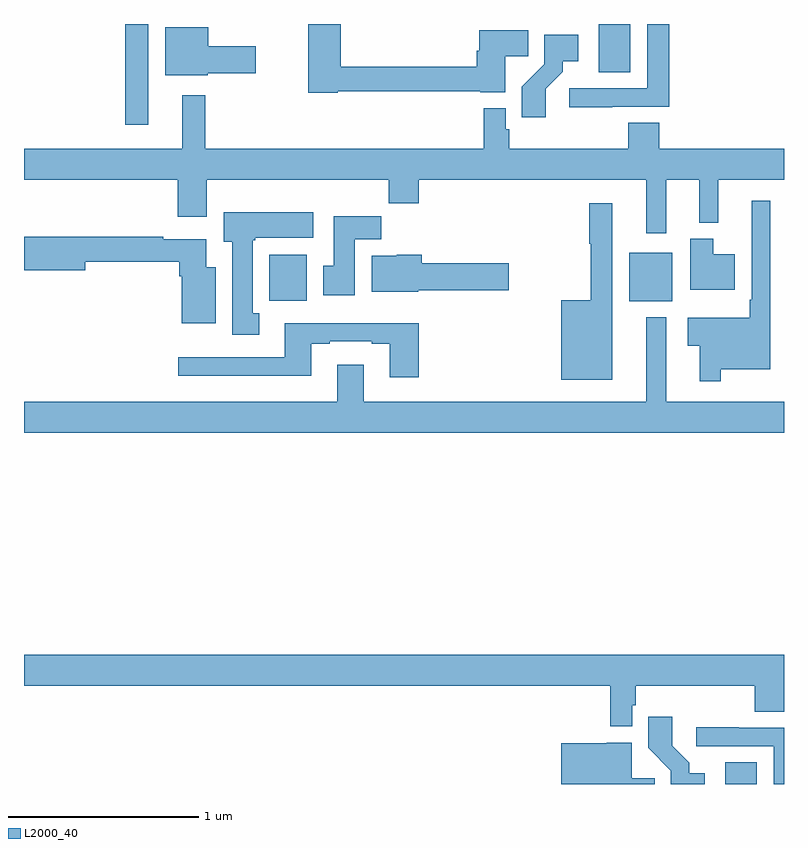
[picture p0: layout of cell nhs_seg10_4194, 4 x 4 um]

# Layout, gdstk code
import gdstk
lib = gdstk.Library(unit=1e-6, precision=1e-09)
def R(c, l, rs):  # rectangles x0, y0, x1, y1
    for r in rs: c.add(gdstk.rectangle(r[:2], r[2:], *l))
def P(c, l, *ps):  # polygons
    for p in ps: c.add(gdstk.Polygon(p, *l))
L2000_40 = (2000, 40)

nhs_seg10_4194 = lib.new_cell('nhs_seg10_4194')
R(nhs_seg10_4194, L2000_40, [(348.692,1266.5,348.856,1266.614), (348.185,1269.041,348.412,1269.295), (346.292,1269.044,346.489,1269.286), (345.534,1269.969,345.655,1270.5), (348.026,1270.246,348.19,1270.5)])
P(nhs_seg10_4194, L2000_40, [(348.095,1270.065),(348.395,1270.065),(348.395,1270.5),(348.279,1270.5),(348.279,1270.161),(347.871,1270.161),(347.871,1270.063),(348.095,1270.063)],
  [(346.65,1270.146),(347.4,1270.146),(347.4,1270.142),(347.533,1270.142),(347.533,1270.33),(347.654,1270.33),(347.654,1270.468),(347.396,1270.468),(347.396,1270.358),(347.384,1270.358),(347.384,1270.274),(346.667,1270.274),(346.667,1270.498),(346.496,1270.498),(346.496,1270.138),(346.65,1270.138)],
  [(345.966,1270.24),(346.219,1270.24),(346.219,1270.382),(345.97,1270.382),(345.97,1270.483),(345.743,1270.483),(345.743,1270.229),(345.966,1270.229)],
  [(347.746,1270.159),(347.836,1270.249),(347.836,1270.304),(347.917,1270.304),(347.917,1270.444),(347.739,1270.444),(347.739,1270.289),(347.62,1270.17),(347.62,1270.008),(347.746,1270.008)],
  [(348.379,1269.68),(348.554,1269.68),(348.554,1269.455),(348.653,1269.455),(348.653,1269.68),(349,1269.68),(349,1269.844),(348.344,1269.844),(348.344,1269.98),(348.179,1269.98),(348.179,1269.844),(347.555,1269.844),(347.555,1269.945),(347.535,1269.945),(347.535,1270.057),(347.419,1270.057),(347.419,1269.844),(345.955,1269.844),(345.955,1270.126),(345.833,1270.126),(345.833,1269.844),(345,1269.844),(345,1269.68),(345.809,1269.68),(345.809,1269.486),(345.961,1269.486),(345.961,1269.68),(346.921,1269.68),(346.921,1269.556),(347.078,1269.556),(347.078,1269.68),(348.275,1269.68),(348.275,1269.399),(348.379,1269.399)],
  [(348.667,1268.684),(348.928,1268.684),(348.928,1269.571),(348.831,1269.571),(348.831,1269.049),(348.819,1269.049),(348.819,1268.953),(348.494,1268.953),(348.494,1268.806),(348.557,1268.806),(348.557,1268.619),(348.667,1268.619)],
  [(348.097,1269.556),(347.976,1269.556),(347.976,1269.343),(347.983,1269.343),(347.983,1269.046),(347.828,1269.046),(347.828,1268.627),(348.097,1268.627)],
  [(346.237,1268.978),(346.204,1268.978),(346.204,1269.361),(346.218,1269.361),(346.218,1269.374),(346.522,1269.374),(346.522,1269.508),(346.052,1269.508),(346.052,1269.354),(346.097,1269.354),(346.097,1268.865),(346.237,1268.865)],
  [(346.741,1269.368),(346.88,1269.368),(346.88,1269.487),(346.631,1269.487),(346.631,1269.228),(346.574,1269.228),(346.574,1269.072),(346.741,1269.072)],
  [(346.009,1269.22),(345.958,1269.22),(345.958,1269.366),(345.734,1269.366),(345.734,1269.379),(345,1269.379),(345,1269.203),(345.322,1269.203),(345.322,1269.25),(345.818,1269.25),(345.818,1269.173),(345.83,1269.173),(345.83,1268.924),(346.009,1268.924)],
  [(348.742,1269.289),(348.628,1269.289),(348.628,1269.37),(348.506,1269.37),(348.506,1269.101),(348.742,1269.101)],
  [(347.076,1269.098),(347.551,1269.098),(347.551,1269.24),(347.093,1269.24),(347.093,1269.286),(346.962,1269.286),(346.962,1269.28),(346.829,1269.28),(346.829,1269.092),(347.076,1269.092)],
  [(349,1268.512),(348.379,1268.512),(348.379,1268.956),(348.275,1268.956),(348.275,1268.512),(346.789,1268.512),(346.789,1268.707),(346.649,1268.707),(346.649,1268.512),(345,1268.512),(345,1268.348),(349,1268.348)],
  [(347.078,1268.926),(346.373,1268.926),(346.373,1268.745),(345.813,1268.745),(345.813,1268.648),(346.513,1268.648),(346.513,1268.817),(346.609,1268.817),(346.609,1268.829),(346.829,1268.829),(346.829,1268.817),(346.925,1268.817),(346.925,1268.64),(347.078,1268.64)],
  [(348.201,1266.915),(348.221,1266.915),(348.221,1267.016),(348.845,1267.016),(348.845,1266.88),(349,1266.88),(349,1267.18),(345,1267.18),(345,1267.016),(348.085,1267.016),(348.085,1266.803),(348.201,1266.803)],
  [(348.583,1266.556),(348.502,1266.556),(348.502,1266.611),(348.412,1266.701),(348.412,1266.853),(348.286,1266.853),(348.286,1266.69),(348.405,1266.571),(348.405,1266.5),(348.583,1266.5)],
  [(349,1266.795),(348.761,1266.795),(348.761,1266.798),(348.537,1266.798),(348.537,1266.699),(348.945,1266.699),(348.945,1266.5),(349,1266.5)],
  [(348.32,1266.53),(348.199,1266.53),(348.199,1266.718),(348.066,1266.718),(348.066,1266.715),(347.828,1266.715),(347.828,1266.5),(348.32,1266.5)])

lib.write_gds('nhs_seg10_4194.gds')
